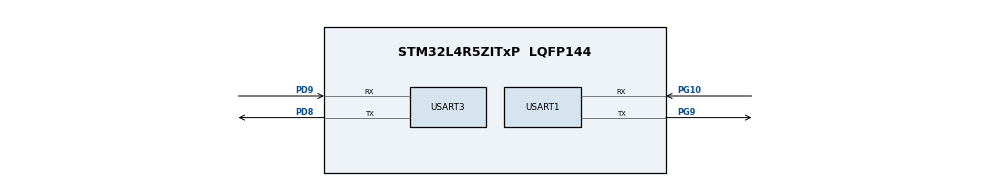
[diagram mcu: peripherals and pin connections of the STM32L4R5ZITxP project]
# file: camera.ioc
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Mcu.Family=STM32L4
Mcu.Name=STM32L4R5ZITxP
Mcu.Package=LQFP144
NVIC.PriorityGroup=NVIC_PRIORITYGROUP_4
PA0.Signal=S_TIM2_CH1
PA1.Signal=ADCx_IN6
PA10.Signal=USB_OTG_FS_ID
PA13\ (JTMS/SWDIO).Signal=SYS_JTMS-SWDIO
PA14\ (JTCK/SWCLK).Signal=SYS_JTCK-SWCLK
PA3.Signal=ADCx_IN8
PA4.Signal=SPI1_NSS
PA5.Signal=SPI1_SCK
PA6.Signal=SPI1_MISO
PA7.Signal=SPI1_MOSI
PA8.Signal=USB_OTG_FS_SOF
PA9.Signal=USB_OTG_FS_VBUS
PB0.Signal=S_TIM3_CH3
PB1.Signal=ADCx_IN16
PB10.Signal=S_TIM2_CH3
PB12.Signal=SAI2_FS_A
PB13.Signal=SAI2_SCK_A
PB14.Signal=S_TIM15_CH1
PB15.Signal=SAI2_SD_A
PB2.Signal=COMP1_INP
PB3\ (JTDO/TRACESWO).Signal=SPI3_SCK
PB4\ (NJTRST).Signal=SPI3_MISO
PB5.Signal=SPI3_MOSI
PB6.Signal=COMP2_INP
PB8.Signal=I2C1_SCL
PB9.Signal=I2C1_SDA
PC0.Signal=ADCx_IN1
PC1.Signal=ADCx_IN2
PC10.Signal=UART4_TX
PC11.Signal=UART4_RX
PC12.Signal=SDMMC1_CK
PC13.Signal=SYS_WKUP2
PC14-OSC32_IN\ (PC14).Signal=RCC_OSC32_IN
PC15-OSC32_OUT\ (PC15).Signal=RCC_OSC32_OUT
PC2.Signal=ADCx_IN3
PC3.Signal=ADCx_IN4
PC4.Signal=ADCx_IN13
PC5.Signal=ADCx_IN14
PC6.Signal=SAI2_MCLK_A
PC7.Signal=S_TIM3_CH2
PC8.Signal=SDMMC1_D0
PC9.Signal=SDMMC1_D1
PD0.Signal=CAN1_RX
PD14.Signal=S_TIM4_CH3
PD15.Signal=S_TIM4_CH4
PD2.Signal=SDMMC1_CMD
PD3.Signal=USART2_CTS
PD4.Signal=USART2_RTS
PD5.Signal=USART2_TX
PD6.Signal=USART2_RX
PD8.Mode=Asynchronous
PD8.Signal=USART3_TX
PD9.Mode=Asynchronous
PD9.Signal=USART3_RX
PE0.Signal=S_TIM4_ETR
PE10.Signal=TIM1_CH2N
PE11.Signal=S_TIM1_CH2
PE12.Signal=TIM1_CH3N
PE13.Signal=S_TIM1_CH3
PE14.Signal=TIM1_BKIN2
PE15.Signal=TIM1_BKIN
PE2.Signal=SAI1_MCLK_A
PE3.Signal=SAI1_SD_B
PE7.Signal=S_TIM1_ETR
PE8.Signal=TIM1_CH1N
PE9.Signal=S_TIM1_CH1
PF0.Signal=I2C2_SDA
PF1.Signal=I2C2_SCL
PF2.Signal=I2C2_SMBA
PF7.Signal=SAI1_MCLK_B
PG10.Mode=Asynchronous
PG10.Signal=USART1_RX
PG7.Signal=LPUART1_TX
PG8.Signal=LPUART1_RX
PG9.Mode=Asynchronous
PG9.Signal=USART1_TX
PH0-OSC_IN\ (PH0).Signal=RCC_OSC_IN
PH1-OSC_OUT\ (PH1).Signal=RCC_OSC_OUT
ProjectManager.HeapSize=0x200
ProjectManager.StackSize=0x400
ProjectManager.TargetToolchain=STM32CubeIDE
RCC.HSE_VALUE=8000000
RCC.HSI48_VALUE=48000000
RCC.HSI_VALUE=16000000
RCC.LSE_VALUE=32768
RCC.MSI_VALUE=4000000
RCC.VCOOutputFreq_Value=32000000
SH.ADCx_IN1.0=ADC1_IN1
SH.ADCx_IN13.0=ADC1_IN13
SH.ADCx_IN14.0=ADC1_IN14
SH.ADCx_IN16.0=ADC1_IN16
SH.ADCx_IN2.0=ADC1_IN2
SH.ADCx_IN3.0=ADC1_IN3
SH.ADCx_IN4.0=ADC1_IN4
SH.ADCx_IN6.0=ADC1_IN6
SH.ADCx_IN8.0=ADC1_IN8
SH.S_TIM15_CH1.0=TIM15_CH1
SH.S_TIM1_CH1.0=TIM1_CH1
SH.S_TIM1_CH2.0=TIM1_CH2
SH.S_TIM1_CH3.0=TIM1_CH3
SH.S_TIM1_ETR.0=TIM1_ETR
SH.S_TIM2_CH1.0=TIM2_CH1
SH.S_TIM2_CH3.0=TIM2_CH3
SH.S_TIM3_CH2.0=TIM3_CH2
SH.S_TIM3_CH3.0=TIM3_CH3
SH.S_TIM4_CH3.0=TIM4_CH3
SH.S_TIM4_CH4.0=TIM4_CH4
SH.S_TIM4_ETR.0=TIM4_ETR
USART1.VirtualMode-Asynchronous=VM_ASYNC
USART3.VirtualMode-Asynchronous=VM_ASYNC
board=NUCLEO-L4R5ZI-P

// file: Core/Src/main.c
/* USER CODE BEGIN Header */
/**
  ******************************************************************************
  * @file           : main.c
  * @brief          : Main program body
  ******************************************************************************
  * @attention
  *
  * Copyright (c) 2024 STMicroelectronics.
  * All rights reserved.
  *
  * This software is licensed under terms that can be found in the LICENSE file
  * in the root directory of this software component.
  * If no LICENSE file comes with this software, it is provided AS-IS.
  *
  ******************************************************************************
  */
/* USER CODE END Header */
#include "main.h"

/* USER CODE BEGIN PTD */
#define VC0706_CMD_PREFIX 0x56
#define VC0706_SERIAL_NUM 0x00
#define VC0706_CMD_SET_BAUD 0x24
#define VC0706_CMD_TAKE_PHOTO 0x36
#define VC0706_CMD_READ_DATA  0x32
#define VC0706_CMD_RESET      0x26

#define CAMERA_BUFFER_SIZE 512 // Adjust this based on available memory

uint8_t cameraBuffer[CAMERA_BUFFER_SIZE];

/* USER CODE END PTD */

UART_HandleTypeDef huart1;
UART_HandleTypeDef huart3;

void SystemClock_Config(void);
static void MX_GPIO_Init(void);
static void MX_USART1_UART_Init(void);
static void MX_USART3_UART_Init(void);

/* USER CODE BEGIN 0 */
void VC0706_SendCommand(uint8_t cmd, uint8_t *params, uint8_t params_len) {
    uint8_t buffer[16];
    buffer[0] = VC0706_CMD_PREFIX;
    buffer[1] = VC0706_SERIAL_NUM;
    buffer[2] = cmd;

    for (uint8_t i = 0; i < params_len; i++) {
        buffer[3 + i] = params[i];
    }

    HAL_UART_Transmit(&huart3, buffer, 3 + params_len, HAL_MAX_DELAY);
}

uint8_t VC0706_TakePhoto(void) {
    uint8_t takePhotoCommand[] = {0x01, 0x00}; // Parameters for taking a photo
    VC0706_SendCommand(VC0706_CMD_TAKE_PHOTO, takePhotoCommand, sizeof(takePhotoCommand));

    uint8_t response[5]={0};
    HAL_StatusTypeDef status = HAL_UART_Receive(&huart3, response, sizeof(response), 1000); // 1-second timeout

    if (status != HAL_OK) {
        // Timeout or error occurred, handle accordingly
        return 0; // Indicate failure to receive acknowledgment
    }

    // Check if the received response is as expected: 0x76 0x00 0x36 0x00 0x00
    if (response[0] == 0x76 && response[1] == 0x00 && response[2] == 0x36 && response[3] == 0x00 && response[4] == 0x00) {
        return 1; // Success
    } else {
        // Unexpected response received, handle accordingly
        return 0;
    }
}

uint8_t VC0706_ReadImage(uint8_t *imageBuffer, uint32_t bufferSize) {
    uint32_t address = 0;
    uint32_t bytesReceived = 0;
    uint8_t readCommand[8];

    while (bytesReceived < bufferSize) {
        uint16_t chunkSize = (bufferSize - bytesReceived > CAMERA_BUFFER_SIZE) ? CAMERA_BUFFER_SIZE : (bufferSize - bytesReceived);

        // Prepare the read command for the camera
        readCommand[0] = 0x0C;
        readCommand[1] = 0x00;
        readCommand[2] = (address >> 8) & 0xFF;
        readCommand[3] = address & 0xFF;
        readCommand[4] = (chunkSize >> 8) & 0xFF;
        readCommand[5] = chunkSize & 0xFF;
        readCommand[6] = 0x10;
        readCommand[7] = 0x00;

        VC0706_SendCommand(VC0706_CMD_READ_DATA, readCommand, sizeof(readCommand));

        HAL_UART_Receive(&huart3, imageBuffer + bytesReceived, chunkSize, HAL_MAX_DELAY);
        bytesReceived += chunkSize;
        address += chunkSize;
    }
    return 1;
}
uint8_t VC0706_SetBaudRate(void) {
    uint8_t baudRateCommand[] = {0x03, 0x01, 0x0D, 0xA6}; // Set baud to 115200
    VC0706_SendCommand(VC0706_CMD_SET_BAUD, baudRateCommand, sizeof(baudRateCommand));

    uint8_t response[5];
    HAL_StatusTypeDef status = HAL_UART_Receive(&huart3, response, sizeof(response), 5000);
    return (response[3] == 0x0); // Check if baud rate was set successfully
}

uint8_t VC0706_Reset(void) {
    uint8_t resetCommand[] = {0x00};
    VC0706_SendCommand(VC0706_CMD_RESET, resetCommand, sizeof(resetCommand));

    uint8_t response[4];
    HAL_StatusTypeDef status = HAL_UART_Receive(&huart3, response, sizeof(response), 10000);
    return (response[3] == 0x0); // Check if reset was successful
}

/* USER CODE END 0 */

int main(void)
{

  /* MCU Configuration--------------------------------------------------------*/

  /* Reset of all peripherals, Initializes the Flash interface and the Systick. */
  HAL_Init();

  /* Configure the system clock */
  SystemClock_Config();

  /* Initialize all configured peripherals */
  MX_GPIO_Init();
  MX_USART1_UART_Init();
  MX_USART3_UART_Init();
  /* USER CODE BEGIN 2 */
//  VC0706_SetBaudRate();
  int reset = 0;
  if (VC0706_Reset()){
	  reset = 1;
  }
//    HAL_Delay(1000);
  int photo = 0;
  // Take a photo
  if (VC0706_TakePhoto()) {
	  photo = 1;
      // Capture the image into the buffer
      VC0706_ReadImage(cameraBuffer, sizeof(cameraBuffer));
  }

  int r = 1;

  /* USER CODE END 2 */

  /* Infinite loop */
  while (1)
  {

  }
}

void SystemClock_Config(void)
{
  RCC_OscInitTypeDef RCC_OscInitStruct = {0};
  RCC_ClkInitTypeDef RCC_ClkInitStruct = {0};

  /** Configure the main internal regulator output voltage
  */
  if (HAL_PWREx_ControlVoltageScaling(PWR_REGULATOR_VOLTAGE_SCALE1) != HAL_OK)
  {
    Error_Handler();
  }

  /** Initializes the RCC Oscillators according to the specified parameters
  * in the RCC_OscInitTypeDef structure.
  */
  RCC_OscInitStruct.OscillatorType = RCC_OSCILLATORTYPE_MSI;
  RCC_OscInitStruct.MSIState = RCC_MSI_ON;
  RCC_OscInitStruct.MSICalibrationValue = 0;
  RCC_OscInitStruct.MSIClockRange = RCC_MSIRANGE_6;
  RCC_OscInitStruct.PLL.PLLState = RCC_PLL_NONE;
  if (HAL_RCC_OscConfig(&RCC_OscInitStruct) != HAL_OK)
  {
    Error_Handler();
  }

  /** Initializes the CPU, AHB and APB buses clocks
  */
  RCC_ClkInitStruct.ClockType = RCC_CLOCKTYPE_HCLK|RCC_CLOCKTYPE_SYSCLK
                              |RCC_CLOCKTYPE_PCLK1|RCC_CLOCKTYPE_PCLK2;
  RCC_ClkInitStruct.SYSCLKSource = RCC_SYSCLKSOURCE_MSI;
  RCC_ClkInitStruct.AHBCLKDivider = RCC_SYSCLK_DIV1;
  RCC_ClkInitStruct.APB1CLKDivider = RCC_HCLK_DIV1;
  RCC_ClkInitStruct.APB2CLKDivider = RCC_HCLK_DIV1;

  if (HAL_RCC_ClockConfig(&RCC_ClkInitStruct, FLASH_LATENCY_0) != HAL_OK)
  {
    Error_Handler();
  }
}

static void MX_USART1_UART_Init(void)
{

  huart1.Instance = USART1;
  huart1.Init.BaudRate = 115200;
  huart1.Init.WordLength = UART_WORDLENGTH_8B;
  huart1.Init.StopBits = UART_STOPBITS_1;
  huart1.Init.Parity = UART_PARITY_NONE;
  huart1.Init.Mode = UART_MODE_TX_RX;
  huart1.Init.HwFlowCtl = UART_HWCONTROL_NONE;
  huart1.Init.OverSampling = UART_OVERSAMPLING_16;
  huart1.Init.OneBitSampling = UART_ONE_BIT_SAMPLE_DISABLE;
  huart1.Init.ClockPrescaler = UART_PRESCALER_DIV1;
  huart1.AdvancedInit.AdvFeatureInit = UART_ADVFEATURE_NO_INIT;
  if (HAL_UART_Init(&huart1) != HAL_OK)
  {
    Error_Handler();
  }
  if (HAL_UARTEx_SetTxFifoThreshold(&huart1, UART_TXFIFO_THRESHOLD_1_8) != HAL_OK)
  {
    Error_Handler();
  }
  if (HAL_UARTEx_SetRxFifoThreshold(&huart1, UART_RXFIFO_THRESHOLD_1_8) != HAL_OK)
  {
    Error_Handler();
  }
  if (HAL_UARTEx_DisableFifoMode(&huart1) != HAL_OK)
  {
    Error_Handler();
  }

}

static void MX_USART3_UART_Init(void)
{

  huart3.Instance = USART3;
  huart3.Init.BaudRate = 115200;
  huart3.Init.WordLength = UART_WORDLENGTH_8B;
  huart3.Init.StopBits = UART_STOPBITS_1;
  huart3.Init.Parity = UART_PARITY_NONE;
  huart3.Init.Mode = UART_MODE_TX_RX;
  huart3.Init.HwFlowCtl = UART_HWCONTROL_NONE;
  huart3.Init.OverSampling = UART_OVERSAMPLING_16;
  huart3.Init.OneBitSampling = UART_ONE_BIT_SAMPLE_DISABLE;
  huart3.Init.ClockPrescaler = UART_PRESCALER_DIV1;
  huart3.AdvancedInit.AdvFeatureInit = UART_ADVFEATURE_NO_INIT;
  if (HAL_UART_Init(&huart3) != HAL_OK)
  {
    Error_Handler();
  }
  if (HAL_UARTEx_SetTxFifoThreshold(&huart3, UART_TXFIFO_THRESHOLD_1_8) != HAL_OK)
  {
    Error_Handler();
  }
  if (HAL_UARTEx_SetRxFifoThreshold(&huart3, UART_RXFIFO_THRESHOLD_1_8) != HAL_OK)
  {
    Error_Handler();
  }
  if (HAL_UARTEx_DisableFifoMode(&huart3) != HAL_OK)
  {
    Error_Handler();
  }

}

static void MX_GPIO_Init(void)
{
  GPIO_InitTypeDef GPIO_InitStruct = {0};

  /* GPIO Ports Clock Enable */
  __HAL_RCC_GPIOE_CLK_ENABLE();
  __HAL_RCC_GPIOC_CLK_ENABLE();
  __HAL_RCC_GPIOF_CLK_ENABLE();
  __HAL_RCC_GPIOH_CLK_ENABLE();
  __HAL_RCC_GPIOA_CLK_ENABLE();
  __HAL_RCC_GPIOB_CLK_ENABLE();
  __HAL_RCC_GPIOD_CLK_ENABLE();
  __HAL_RCC_GPIOG_CLK_ENABLE();
  HAL_PWREx_EnableVddIO2();

  /*Configure GPIO pins : PE2 PE3 */
  GPIO_InitStruct.Pin = GPIO_PIN_2|GPIO_PIN_3;
  GPIO_InitStruct.Mode = GPIO_MODE_AF_PP;
  GPIO_InitStruct.Pull = GPIO_NOPULL;
  GPIO_InitStruct.Speed = GPIO_SPEED_FREQ_LOW;
  GPIO_InitStruct.Alternate = GPIO_AF13_SAI1;
  HAL_GPIO_Init(GPIOE, &GPIO_InitStruct);

  /*Configure GPIO pins : PF0 PF1 PF2 */
  GPIO_InitStruct.Pin = GPIO_PIN_0|GPIO_PIN_1|GPIO_PIN_2;
  GPIO_InitStruct.Mode = GPIO_MODE_AF_OD;
  GPIO_InitStruct.Pull = GPIO_NOPULL;
  GPIO_InitStruct.Speed = GPIO_SPEED_FREQ_VERY_HIGH;
  GPIO_InitStruct.Alternate = GPIO_AF4_I2C2;
  HAL_GPIO_Init(GPIOF, &GPIO_InitStruct);

  /*Configure GPIO pin : PF7 */
  GPIO_InitStruct.Pin = GPIO_PIN_7;
  GPIO_InitStruct.Mode = GPIO_MODE_AF_PP;
  GPIO_InitStruct.Pull = GPIO_NOPULL;
  GPIO_InitStruct.Speed = GPIO_SPEED_FREQ_LOW;
  GPIO_InitStruct.Alternate = GPIO_AF13_SAI1;
  HAL_GPIO_Init(GPIOF, &GPIO_InitStruct);

  /*Configure GPIO pins : PC0 PC1 PC2 PC3
                           PC4 PC5 */
  GPIO_InitStruct.Pin = GPIO_PIN_0|GPIO_PIN_1|GPIO_PIN_2|GPIO_PIN_3
                          |GPIO_PIN_4|GPIO_PIN_5;
  GPIO_InitStruct.Mode = GPIO_MODE_ANALOG_ADC_CONTROL;
  GPIO_InitStruct.Pull = GPIO_NOPULL;
  HAL_GPIO_Init(GPIOC, &GPIO_InitStruct);

  /*Configure GPIO pin : PA0 */
  GPIO_InitStruct.Pin = GPIO_PIN_0;
  GPIO_InitStruct.Mode = GPIO_MODE_AF_PP;
  GPIO_InitStruct.Pull = GPIO_NOPULL;
  GPIO_InitStruct.Speed = GPIO_SPEED_FREQ_LOW;
  GPIO_InitStruct.Alternate = GPIO_AF1_TIM2;
  HAL_GPIO_Init(GPIOA, &GPIO_InitStruct);

  /*Configure GPIO pins : PA1 PA3 */
  GPIO_InitStruct.Pin = GPIO_PIN_1|GPIO_PIN_3;
  GPIO_InitStruct.Mode = GPIO_MODE_ANALOG_ADC_CONTROL;
  GPIO_InitStruct.Pull = GPIO_NOPULL;
  HAL_GPIO_Init(GPIOA, &GPIO_InitStruct);

  /*Configure GPIO pins : PA4 PA5 PA6 PA7 */
  GPIO_InitStruct.Pin = GPIO_PIN_4|GPIO_PIN_5|GPIO_PIN_6|GPIO_PIN_7;
  GPIO_InitStruct.Mode = GPIO_MODE_AF_PP;
  GPIO_InitStruct.Pull = GPIO_NOPULL;
  GPIO_InitStruct.Speed = GPIO_SPEED_FREQ_VERY_HIGH;
  GPIO_InitStruct.Alternate = GPIO_AF5_SPI1;
  HAL_GPIO_Init(GPIOA, &GPIO_InitStruct);

  /*Configure GPIO pin : PB0 */
  GPIO_InitStruct.Pin = GPIO_PIN_0;
  GPIO_InitStruct.Mode = GPIO_MODE_AF_PP;
  GPIO_InitStruct.Pull = GPIO_NOPULL;
  GPIO_InitStruct.Speed = GPIO_SPEED_FREQ_LOW;
  GPIO_InitStruct.Alternate = GPIO_AF2_TIM3;
  HAL_GPIO_Init(GPIOB, &GPIO_InitStruct);

  /*Configure GPIO pin : PB1 */
  GPIO_InitStruct.Pin = GPIO_PIN_1;
  GPIO_InitStruct.Mode = GPIO_MODE_ANALOG_ADC_CONTROL;
  GPIO_InitStruct.Pull = GPIO_NOPULL;
  HAL_GPIO_Init(GPIOB, &GPIO_InitStruct);

  /*Configure GPIO pins : PB2 PB6 */
  GPIO_InitStruct.Pin = GPIO_PIN_2|GPIO_PIN_6;
  GPIO_InitStruct.Mode = GPIO_MODE_ANALOG;
  GPIO_InitStruct.Pull = GPIO_NOPULL;
  HAL_GPIO_Init(GPIOB, &GPIO_InitStruct);

  /*Configure GPIO pins : PE7 PE8 PE9 PE10
                           PE11 PE12 PE13 */
  GPIO_InitStruct.Pin = GPIO_PIN_7|GPIO_PIN_8|GPIO_PIN_9|GPIO_PIN_10
                          |GPIO_PIN_11|GPIO_PIN_12|GPIO_PIN_13;
  GPIO_InitStruct.Mode = GPIO_MODE_AF_PP;
  GPIO_InitStruct.Pull = GPIO_NOPULL;
  GPIO_InitStruct.Speed = GPIO_SPEED_FREQ_LOW;
  GPIO_InitStruct.Alternate = GPIO_AF1_TIM1;
  HAL_GPIO_Init(GPIOE, &GPIO_InitStruct);

  /*Configure GPIO pins : PE14 PE15 */
  GPIO_InitStruct.Pin = GPIO_PIN_14|GPIO_PIN_15;
  GPIO_InitStruct.Mode = GPIO_MODE_AF_PP;
  GPIO_InitStruct.Pull = GPIO_NOPULL;
  GPIO_InitStruct.Speed = GPIO_SPEED_FREQ_LOW;
  GPIO_InitStruct.Alternate = GPIO_AF3_TIM1_COMP1;
  HAL_GPIO_Init(GPIOE, &GPIO_InitStruct);

  /*Configure GPIO pin : PB10 */
  GPIO_InitStruct.Pin = GPIO_PIN_10;
  GPIO_InitStruct.Mode = GPIO_MODE_AF_PP;
  GPIO_InitStruct.Pull = GPIO_NOPULL;
  GPIO_InitStruct.Speed = GPIO_SPEED_FREQ_LOW;
  GPIO_InitStruct.Alternate = GPIO_AF1_TIM2;
  HAL_GPIO_Init(GPIOB, &GPIO_InitStruct);

  /*Configure GPIO pins : PB12 PB13 PB15 */
  GPIO_InitStruct.Pin = GPIO_PIN_12|GPIO_PIN_13|GPIO_PIN_15;
  GPIO_InitStruct.Mode = GPIO_MODE_AF_PP;
  GPIO_InitStruct.Pull = GPIO_NOPULL;
  GPIO_InitStruct.Speed = GPIO_SPEED_FREQ_LOW;
  GPIO_InitStruct.Alternate = GPIO_AF13_SAI2;
  HAL_GPIO_Init(GPIOB, &GPIO_InitStruct);

  /*Configure GPIO pin : PB14 */
  GPIO_InitStruct.Pin = GPIO_PIN_14;
  GPIO_InitStruct.Mode = GPIO_MODE_AF_PP;
  GPIO_InitStruct.Pull = GPIO_NOPULL;
  GPIO_InitStruct.Speed = GPIO_SPEED_FREQ_LOW;
  GPIO_InitStruct.Alternate = GPIO_AF14_TIM15;
  HAL_GPIO_Init(GPIOB, &GPIO_InitStruct);

  /*Configure GPIO pins : PD14 PD15 */
  GPIO_InitStruct.Pin = GPIO_PIN_14|GPIO_PIN_15;
  GPIO_InitStruct.Mode = GPIO_MODE_AF_PP;
  GPIO_InitStruct.Pull = GPIO_NOPULL;
  GPIO_InitStruct.Speed = GPIO_SPEED_FREQ_LOW;
  GPIO_InitStruct.Alternate = GPIO_AF2_TIM4;
  HAL_GPIO_Init(GPIOD, &GPIO_InitStruct);

  /*Configure GPIO pins : PG7 PG8 */
  GPIO_InitStruct.Pin = GPIO_PIN_7|GPIO_PIN_8;
  GPIO_InitStruct.Mode = GPIO_MODE_AF_PP;
  GPIO_InitStruct.Pull = GPIO_NOPULL;
  GPIO_InitStruct.Speed = GPIO_SPEED_FREQ_VERY_HIGH;
  GPIO_InitStruct.Alternate = GPIO_AF8_LPUART1;
  HAL_GPIO_Init(GPIOG, &GPIO_InitStruct);

  /*Configure GPIO pin : PC6 */
  GPIO_InitStruct.Pin = GPIO_PIN_6;
  GPIO_InitStruct.Mode = GPIO_MODE_AF_PP;
  GPIO_InitStruct.Pull = GPIO_NOPULL;
  GPIO_InitStruct.Speed = GPIO_SPEED_FREQ_LOW;
  GPIO_InitStruct.Alternate = GPIO_AF13_SAI2;
  HAL_GPIO_Init(GPIOC, &GPIO_InitStruct);

  /*Configure GPIO pin : PC7 */
  GPIO_InitStruct.Pin = GPIO_PIN_7;
  GPIO_InitStruct.Mode = GPIO_MODE_AF_PP;
  GPIO_InitStruct.Pull = GPIO_NOPULL;
  GPIO_InitStruct.Speed = GPIO_SPEED_FREQ_LOW;
  GPIO_InitStruct.Alternate = GPIO_AF2_TIM3;
  HAL_GPIO_Init(GPIOC, &GPIO_InitStruct);

  /*Configure GPIO pins : PC8 PC9 PC12 */
  GPIO_InitStruct.Pin = GPIO_PIN_8|GPIO_PIN_9|GPIO_PIN_12;
  GPIO_InitStruct.Mode = GPIO_MODE_AF_PP;
  GPIO_InitStruct.Pull = GPIO_NOPULL;
  GPIO_InitStruct.Speed = GPIO_SPEED_FREQ_VERY_HIGH;
  GPIO_InitStruct.Alternate = GPIO_AF12_SDMMC1;
  HAL_GPIO_Init(GPIOC, &GPIO_InitStruct);

  /*Configure GPIO pins : PA8 PA10 */
  GPIO_InitStruct.Pin = GPIO_PIN_8|GPIO_PIN_10;
  GPIO_InitStruct.Mode = GPIO_MODE_AF_PP;
  GPIO_InitStruct.Pull = GPIO_NOPULL;
  GPIO_InitStruct.Speed = GPIO_SPEED_FREQ_VERY_HIGH;
  GPIO_InitStruct.Alternate = GPIO_AF10_OTG_FS;
  HAL_GPIO_Init(GPIOA, &GPIO_InitStruct);

  /*Configure GPIO pin : PA9 */
  GPIO_InitStruct.Pin = GPIO_PIN_9;
  GPIO_InitStruct.Mode = GPIO_MODE_INPUT;
  GPIO_InitStruct.Pull = GPIO_NOPULL;
  HAL_GPIO_Init(GPIOA, &GPIO_InitStruct);

  /*Configure GPIO pins : PC10 PC11 */
  GPIO_InitStruct.Pin = GPIO_PIN_10|GPIO_PIN_11;
  GPIO_InitStruct.Mode = GPIO_MODE_AF_PP;
  GPIO_InitStruct.Pull = GPIO_NOPULL;
  GPIO_InitStruct.Speed = GPIO_SPEED_FREQ_VERY_HIGH;
  GPIO_InitStruct.Alternate = GPIO_AF8_UART4;
  HAL_GPIO_Init(GPIOC, &GPIO_InitStruct);

  /*Configure GPIO pin : PD0 */
  GPIO_InitStruct.Pin = GPIO_PIN_0;
  GPIO_InitStruct.Mode = GPIO_MODE_AF_PP;
  GPIO_InitStruct.Pull = GPIO_NOPULL;
  GPIO_InitStruct.Speed = GPIO_SPEED_FREQ_VERY_HIGH;
  GPIO_InitStruct.Alternate = GPIO_AF9_CAN1;
  HAL_GPIO_Init(GPIOD, &GPIO_InitStruct);

  /*Configure GPIO pin : PD2 */
  GPIO_InitStruct.Pin = GPIO_PIN_2;
  GPIO_InitStruct.Mode = GPIO_MODE_AF_PP;
  GPIO_InitStruct.Pull = GPIO_NOPULL;
  GPIO_InitStruct.Speed = GPIO_SPEED_FREQ_VERY_HIGH;
  GPIO_InitStruct.Alternate = GPIO_AF12_SDMMC1;
  HAL_GPIO_Init(GPIOD, &GPIO_InitStruct);

  /*Configure GPIO pins : PD3 PD4 PD5 PD6 */
  GPIO_InitStruct.Pin = GPIO_PIN_3|GPIO_PIN_4|GPIO_PIN_5|GPIO_PIN_6;
  GPIO_InitStruct.Mode = GPIO_MODE_AF_PP;
  GPIO_InitStruct.Pull = GPIO_NOPULL;
  GPIO_InitStruct.Speed = GPIO_SPEED_FREQ_VERY_HIGH;
  GPIO_InitStruct.Alternate = GPIO_AF7_USART2;
  HAL_GPIO_Init(GPIOD, &GPIO_InitStruct);

  /*Configure GPIO pins : PB3 PB4 PB5 */
  GPIO_InitStruct.Pin = GPIO_PIN_3|GPIO_PIN_4|GPIO_PIN_5;
  GPIO_InitStruct.Mode = GPIO_MODE_AF_PP;
  GPIO_InitStruct.Pull = GPIO_NOPULL;
  GPIO_InitStruct.Speed = GPIO_SPEED_FREQ_VERY_HIGH;
  GPIO_InitStruct.Alternate = GPIO_AF6_SPI3;
  HAL_GPIO_Init(GPIOB, &GPIO_InitStruct);

  /*Configure GPIO pins : PB8 PB9 */
  GPIO_InitStruct.Pin = GPIO_PIN_8|GPIO_PIN_9;
  GPIO_InitStruct.Mode = GPIO_MODE_AF_OD;
  GPIO_InitStruct.Pull = GPIO_NOPULL;
  GPIO_InitStruct.Speed = GPIO_SPEED_FREQ_VERY_HIGH;
  GPIO_InitStruct.Alternate = GPIO_AF4_I2C1;
  HAL_GPIO_Init(GPIOB, &GPIO_InitStruct);

  /*Configure GPIO pin : PE0 */
  GPIO_InitStruct.Pin = GPIO_PIN_0;
  GPIO_InitStruct.Mode = GPIO_MODE_AF_PP;
  GPIO_InitStruct.Pull = GPIO_NOPULL;
  GPIO_InitStruct.Speed = GPIO_SPEED_FREQ_LOW;
  GPIO_InitStruct.Alternate = GPIO_AF2_TIM4;
  HAL_GPIO_Init(GPIOE, &GPIO_InitStruct);

}

void Error_Handler(void)
{
  __disable_irq();
  while (1)
  {
  }
}
